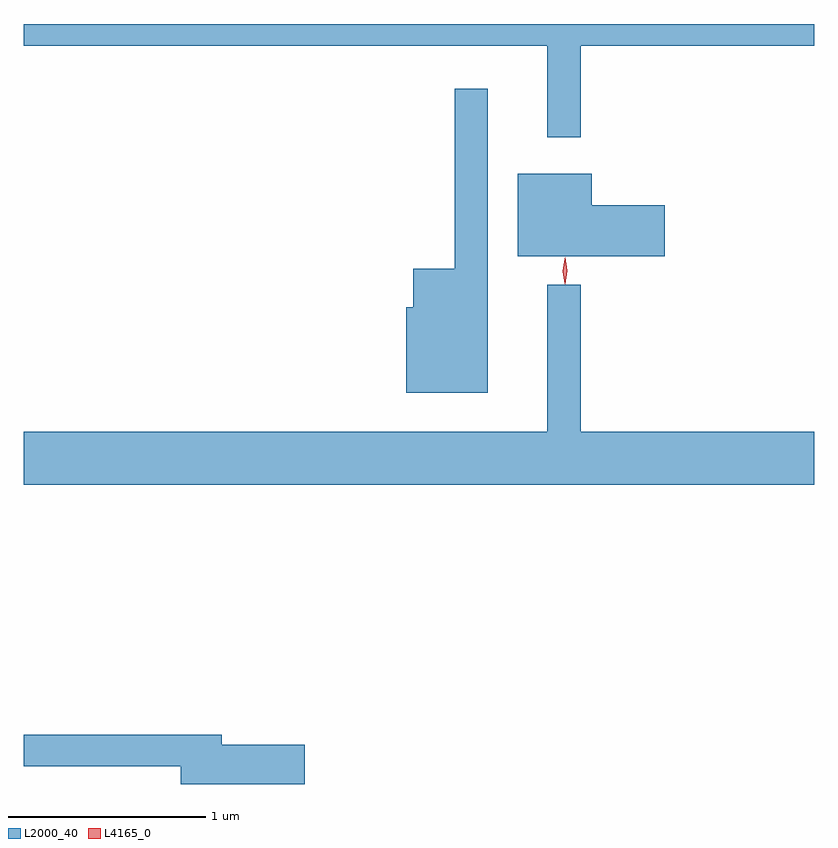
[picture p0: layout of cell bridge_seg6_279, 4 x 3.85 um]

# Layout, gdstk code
import gdstk
lib = gdstk.Library(unit=1e-6, precision=1e-09)
def P(c, l, *ps):  # polygons
    for p in ps: c.add(gdstk.Polygon(p, *l))
L2000_40 = (2000, 40)
L4165_0 = (4165, 0)

bridge_seg6_279 = lib.new_cell('bridge_seg6_279')
P(bridge_seg6_279, L2000_40, [(1228.129,1556.696),(1229.311,1556.696),(1229.311,1556.806),(1225.311,1556.806),(1225.311,1556.696),(1227.961,1556.696),(1227.961,1556.233),(1228.129,1556.233)],
  [(1227.659,1556.478),(1227.491,1556.478),(1227.491,1555.569),(1227.281,1555.569),(1227.281,1555.374),(1227.246,1555.374),(1227.246,1554.941),(1227.659,1554.941)],
  [(1228.554,1555.889),(1228.184,1555.889),(1228.184,1556.049),(1227.811,1556.049),(1227.811,1555.631),(1228.554,1555.631)],
  [(1229.311,1554.744),(1228.129,1554.744),(1228.129,1555.488),(1227.961,1555.488),(1227.961,1554.744),(1225.311,1554.744),(1225.311,1554.476),(1229.311,1554.476)],
  [(1226.734,1553.159),(1226.314,1553.159),(1226.314,1553.209),(1225.311,1553.209),(1225.311,1553.051),(1226.106,1553.051),(1226.106,1552.961),(1226.734,1552.961)])
P(bridge_seg6_279, L4165_0, [(1228.052,1555.49),(1228.052,1555.49),(1228.042,1555.558),(1228.052,1555.626),(1228.052,1555.626),(1228.052,1555.626),(1228.062,1555.558),(1228.052,1555.49)],
  [(1228.048,1555.493),(1228.048,1555.493),(1228.038,1555.556),(1228.048,1555.619),(1228.048,1555.62),(1228.049,1555.619),(1228.058,1555.556),(1228.049,1555.493)])

lib.write_gds('bridge_seg6_279.gds')
